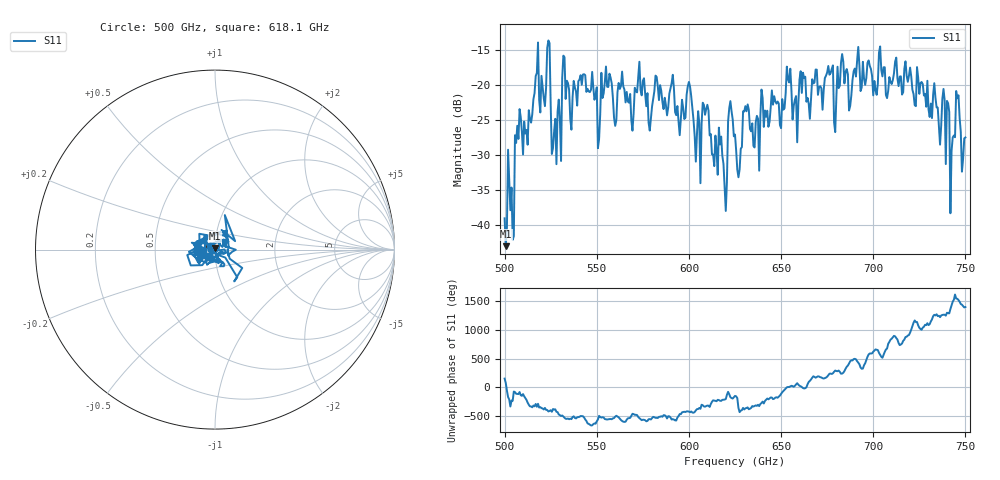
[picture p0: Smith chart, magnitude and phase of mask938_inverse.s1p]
!Created with skrf (http://scikit-rf.org).
# GHz S MA R 50.0
!freq magS11 angS11
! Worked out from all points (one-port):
!   401 points, 500 GHz to 750 GHz, reference 50 ohm
!   lowest |S11| = -43.0 dB at 500.6 GHz (marker M1), VSWR 1.01, Z = 50.1 + j0.699 ohm
!   |S11| at or under -10 dB: start of sweep to end of sweep
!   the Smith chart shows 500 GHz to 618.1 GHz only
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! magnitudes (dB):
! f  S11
! 500 GHz  -39.0
! 500.6 GHz  -43.0
! 503.8 GHz  -34.6
! 506.9 GHz  -25.8
! 511.2 GHz  -26.9
! 516.9 GHz  -18.7
! 523.8 GHz  -13.7
! 526.9 GHz  -26.6
! 531.2 GHz  -19.0
! 542.5 GHz  -18.5
! 550.6 GHz  -29.0
! 562.5 GHz  -20.6
! 579.4 GHz  -24.8
! 590.6 GHz  -19.8
! 593.8 GHz  -23.0
! 600 GHz  -19.6
! 605 GHz  -23.7
! 608.8 GHz  -24.3
! 619.4 GHz  -34.5
! 622.5 GHz  -22.3
! 625 GHz  -27.1
! 656.2 GHz  -24.9
! 687.5 GHz  -23.0
! 718.8 GHz  -19.6
! 739.4 GHz  -31.3
! 743.1 GHz  -27.5
! 745.6 GHz  -21.9
! 750 GHz  -27.5
